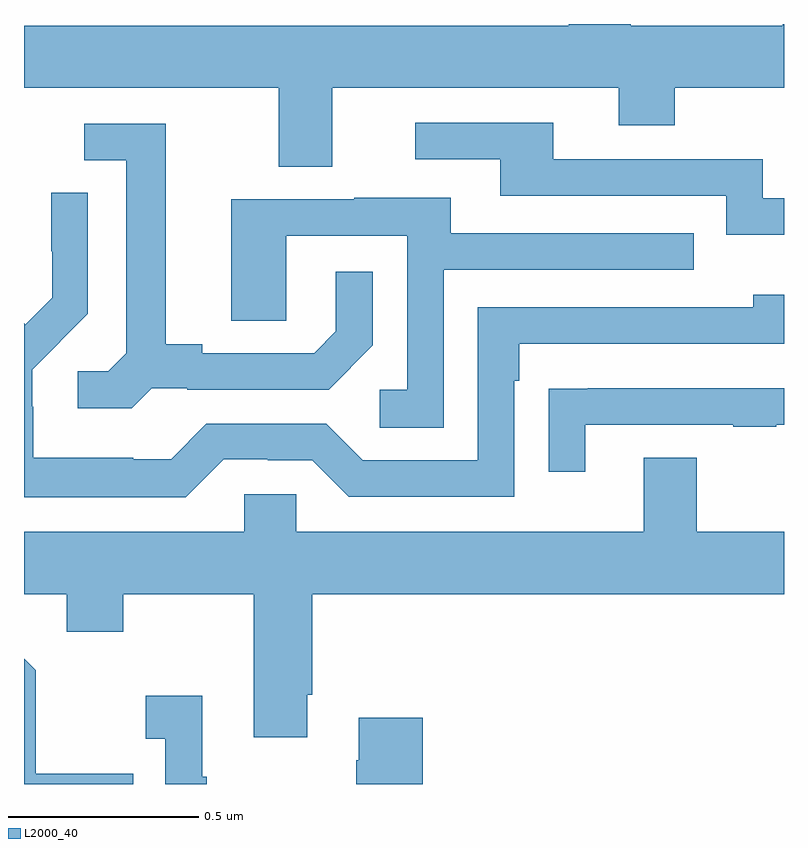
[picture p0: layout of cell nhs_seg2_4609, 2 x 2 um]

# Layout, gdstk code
import gdstk
lib = gdstk.Library(unit=1e-6, precision=1e-09)
def P(c, l, *ps):  # polygons
    for p in ps: c.add(gdstk.Polygon(p, *l))
L2000_40 = (2000, 40)

nhs_seg2_4609 = lib.new_cell('nhs_seg2_4609')
P(nhs_seg2_4609, L2000_40, [(169.597,651.8),(169.433,651.8),(169.433,651.796),(168,651.796),(168,651.632),(168.671,651.632),(168.671,651.424),(168.811,651.424),(168.811,651.632),(169.565,651.632),(169.565,651.533),(169.713,651.533),(169.713,651.632),(170,651.632),(170,651.8),(169.997,651.8),(169.997,651.796),(169.597,651.796)],
  [(170,651.342),(169.944,651.342),(169.944,651.444),(169.393,651.444),(169.393,651.54),(169.029,651.54),(169.029,651.444),(169.253,651.444),(169.253,651.348),(169.848,651.348),(169.848,651.245),(170,651.245)],
  [(168.336,650.841),(168.43,650.841),(168.43,650.838),(168.802,650.838),(168.918,650.954),(168.918,651.148),(168.821,651.148),(168.821,650.991),(168.764,650.934),(168.469,650.934),(168.469,650.957),(168.373,650.957),(168.373,651.537),(168.159,651.537),(168.159,651.441),(168.269,651.441),(168.269,650.933),(168.222,650.886),(168.141,650.886),(168.141,650.789),(168.284,650.789)],
  [(168.525,650.655),(168.641,650.655),(168.641,650.652),(168.759,650.652),(168.855,650.556),(169.29,650.556),(169.29,650.861),(169.303,650.861),(169.303,650.958),(170,650.958),(170,651.088),(169.919,651.088),(169.919,651.054),(169.194,651.054),(169.194,650.652),(168.891,650.652),(168.795,650.748),(168.48,650.748),(168.387,650.655),(168.287,650.655),(168.287,650.659),(168.024,650.659),(168.024,650.793),(168.022,650.793),(168.022,650.89),(168.096,650.964),(168.095,650.965),(168.168,651.038),(168.168,651.356),(168.072,651.356),(168.072,651.202),(168.074,651.202),(168.074,651.08),(168.003,651.009),(168,651.012),(168,650.555),(168.425,650.555)],
  [(169.104,651.153),(169.763,651.153),(169.763,651.249),(169.123,651.249),(169.123,651.343),(168.869,651.343),(168.869,651.339),(168.545,651.339),(168.545,651.019),(168.69,651.019),(168.69,651.243),(169.008,651.243),(169.008,650.838),(168.936,650.838),(168.936,650.737),(169.104,650.737)],
  [(169.477,650.745),(169.867,650.745),(169.867,650.74),(169.979,650.74),(169.979,650.745),(170,650.745),(170,650.841),(169.483,650.841),(169.483,650.84),(169.381,650.84),(169.381,650.622),(169.477,650.622)],
  [(168.717,650.562),(168.579,650.562),(168.579,650.464),(168,650.464),(168,650.3),(168.113,650.3),(168.113,650.201),(168.261,650.201),(168.261,650.3),(168.605,650.3),(168.605,649.923),(168.745,649.923),(168.745,650.035),(168.758,650.035),(168.758,650.3),(170,650.3),(170,650.464),(169.771,650.464),(169.771,650.659),(169.631,650.659),(169.631,650.464),(168.717,650.464)],
  [(168.287,649.827),(168.031,649.827),(168.031,650.099),(168,650.13),(168,649.8),(168.287,649.8)],
  [(168.481,649.819),(168.469,649.819),(168.469,650.032),(168.321,650.032),(168.321,649.919),(168.372,649.919),(168.372,649.8),(168.481,649.8)],
  [(169.049,649.975),(168.881,649.975),(168.881,649.862),(168.874,649.862),(168.874,649.8),(169.049,649.8)])

lib.write_gds('nhs_seg2_4609.gds')
